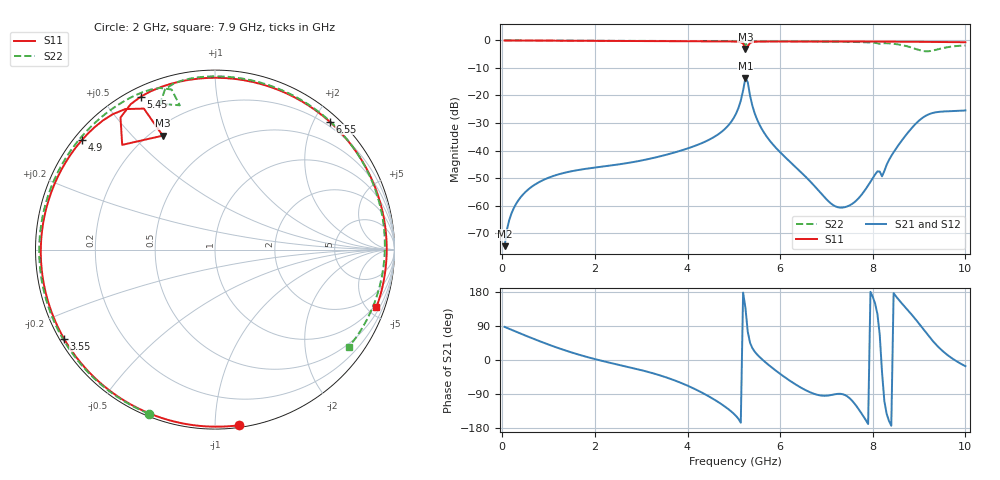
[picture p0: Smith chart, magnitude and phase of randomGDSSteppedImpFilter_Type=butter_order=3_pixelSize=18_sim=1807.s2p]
! freq	dB(S11)	phase(S11)	dB(S12)	phase(S12)
!  dB(S21)	phase(S21)	dB(S22)	phase(S22)
!S-par simulation data
#  GHz  S  DB  R 50
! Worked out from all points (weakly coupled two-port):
!   200 points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, 50 MHz to 10 GHz, reference 50 ohm
!   highest |S21| = -13.66 dB at 5.25 GHz (marker M1); lowest = -74.7 dB at 50 MHz (marker M2)
!   lowest |S11| = -3.1 dB at 5.25 GHz (marker M3), VSWR 5.63, Z = 12.4 + j30.7 ohm
!   |S11| at or under -10 dB: nowhere
!   |S22| runs from -3.9 to 0.0 dB; largest |S21 - S12| = 0
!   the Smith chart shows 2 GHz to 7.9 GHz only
!   S11 on the Smith chart (normalised r, x): 2 GHz: 0.01, -1.14; 3.55 GHz: 0.01, -0.27; 4.9 GHz: 0.02, +0.36; 5.45 GHz: 0.04, +0.63; 6.55 GHz: 0.13, +2.23; 7.9 GHz: 0.77, -5.66
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0.05  -0.01 -2.1  -74.75 87.3  -74.75 87.3  -0.00 -3.1
0.2  -0.01 -8.3  -62.77 79.6  -62.77 79.6  -0.02 -12.3
0.5  -0.02 -20.7  -55.06 64.5  -55.06 64.5  -0.03 -30.6
1.75  -0.09 -72.0  -46.77 10.6  -46.77 10.6  -0.11 -99.7
2  -0.11 -82.3  -46.18 2.4  -46.18 2.4  -0.12 -112.0
3.4  -0.19 -142.6  -42.14 -40.4  -42.14 -40.4  -0.17 -174.0
3.55  -0.21 -149.5  -41.49 -46.3  -41.49 -46.3  -0.18 179.7
4.9  -0.35 140.7  -30.49 -131.4  -30.49 -131.4  -0.27 122.0
5.05  -0.42 130.9  -26.51 -148.0  -26.51 -148.0  -0.31 114.6
5.25  -3.12 114.6  -13.66 138.0  -13.66 138.0  -1.64 103.7
5.3  -2.16 131.5  -15.17 75.0  -15.17 75.0  -1.23 110.6
5.45  -0.47 115.8  -26.46 22.1  -26.46 22.1  -0.35 100.7
6.55  -0.38 48.1  -49.51 -79.6  -49.51 -79.6  -0.36 44.9
6.7  -0.38 39.7  -52.14 -87.8  -52.14 -87.8  -0.38 37.0
7.3  -0.38 8.1  -60.74 -89.2  -60.74 -89.2  -0.47 3.3
7.9  -0.40 -19.7  -52.67 -168.9  -52.67 -168.9  -0.71 -35.9
8.35  -0.43 -38.2  -43.44 -160.8  -43.44 -160.8  -1.05 -73.0
8.65  -0.46 -49.4  -35.83 146.3  -35.83 146.3  -1.75 -111.7
8.9  -0.48 -58.3  -30.75 111.0  -30.75 111.0  -2.93 -161.8
9.25  -0.53 -69.9  -26.57 56.8  -26.57 56.8  -3.82 94.4
9.6  -0.57 -80.9  -25.76 14.4  -25.76 14.4  -2.49 17.0
10  -0.64 -92.8  -25.42 -16.3  -25.42 -16.3  -1.83 -29.9
